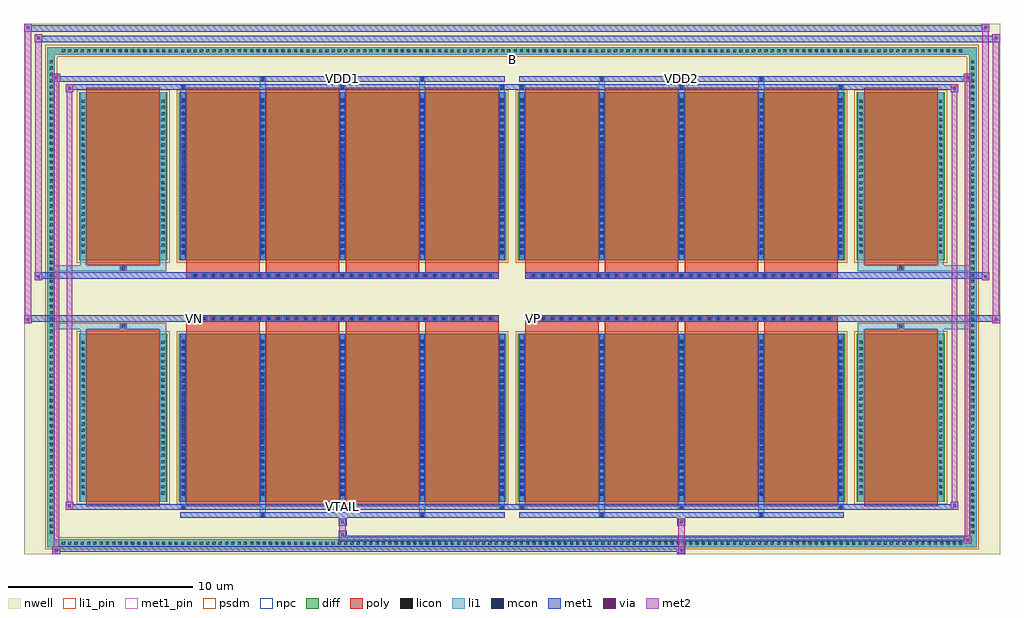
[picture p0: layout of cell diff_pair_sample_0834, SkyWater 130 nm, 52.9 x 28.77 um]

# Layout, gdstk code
import gdstk
lib = gdstk.Library(unit=1e-6, precision=5e-09)
def R(c, l, rs):  # rectangles x0, y0, x1, y1
    for r in rs: c.add(gdstk.rectangle(r[:2], r[2:], *l))
def A(c, l, x, y, w, h, nx, ny, dx, dy):  # array of equal rectangles
    R(c, l, [(x+i*dx, y+j*dy, x+i*dx+w, y+j*dy+h) for i in range(nx) for j in range(ny)])
def P(c, l, *ps):  # polygons
    for p in ps: c.add(gdstk.Polygon(p, *l))
nwell = (64, 20)
diff = (65, 20)
poly = (66, 20)
licon = (66, 44)
li1_pin = (67, 16)
li1 = (67, 20)
mcon = (67, 44)
met1_pin = (68, 16)
met1 = (68, 20)
via = (68, 44)
met2 = (69, 20)
psdm = (94, 20)
npc = (95, 20)

diff_pair_sample_0834 = lib.new_cell('diff_pair_sample_0834')
R(diff_pair_sample_0834, nwell, [(-26.45,-13.95,26.45,14.82), (-23.77,-12.14,-0.01,-0.8), (0.01,-12.14,23.77,-0.8), (-23.77,0.8,-0.01,12.14), (0.01,0.8,23.77,12.14)])
A(diff_pair_sample_0834, diff, -24.515, -13.55, 0.41, 0.41, 144, 2, 0.34, 26.69)
A(diff_pair_sample_0834, diff, -25.18, -12.955, 0.41, 0.41, 1, 76, 0, 0.34)
A(diff_pair_sample_0834, diff, 24.77, -12.955, 0.41, 0.41, 1, 76, 0, 0.34)
R(diff_pair_sample_0834, diff, [(-24.515,-13.55,24.515,-13.14), (-25.18,-12.955,-24.77,12.955), (24.77,-12.955,25.18,12.955), (-23.46,-11.095,-18.69,-1.985), (-18.05,-11.095,-0.32,-1.985), (0.32,-11.095,18.05,-1.985), (18.69,-11.095,23.46,-1.985), (-23.46,1.985,-18.69,11.095), (-18.05,1.985,-0.32,11.095), (0.32,1.985,18.05,11.095), (18.69,1.985,23.46,11.095), (-24.515,13.14,24.515,13.55)])
P(diff_pair_sample_0834, diff, [(25.18,13.55),(-25.18,13.55),(-25.18,-13.14),(-24.77,-13.14),(-24.77,13.14),(24.77,13.14),(24.77,-13.14),(-24.77,-13.14),(-25.18,-13.14),(-25.18,-13.55),(25.18,-13.55)])
A(diff_pair_sample_0834, poly, -17.66, -11.345, 3.99, 9.61, 4, 2, 4.32, 13.08)
A(diff_pair_sample_0834, poly, 0.71, -11.345, 3.99, 9.61, 4, 2, 4.32, 13.08)
A(diff_pair_sample_0834, poly, -17.66, -1.735, 3.99, 0.405, 4, 2, 4.32, 3.065)
A(diff_pair_sample_0834, poly, 0.71, -1.735, 3.99, 0.405, 4, 2, 4.32, 3.065)
A(diff_pair_sample_0834, poly, -17.35, -1.33, 0.33, 0.33, 33, 2, 0.5, 2.33)
A(diff_pair_sample_0834, poly, 1.02, -1.33, 0.33, 0.33, 33, 2, 0.5, 2.33)
R(diff_pair_sample_0834, poly, [(-23.07,-11.345,-19.08,-1.735), (19.08,-11.345,23.07,-1.735), (-21.24,-1.735,-20.91,-1.405), (-21.24,-1.735,-20.91,-1.405), (20.91,-1.735,21.24,-1.405), (20.91,-1.735,21.24,-1.405), (-17.66,-1.33,-0.71,-1), (0.71,-1.33,17.66,-1), (-17.66,1,-0.71,1.33), (0.71,1,17.66,1.33), (-21.24,1.405,-20.91,1.735), (-21.24,1.405,-20.91,1.735), (20.91,1.405,21.24,1.735), (20.91,1.405,21.24,1.735), (-23.07,1.735,-19.08,11.345), (19.08,1.735,23.07,11.345)])
A(diff_pair_sample_0834, licon, -24.395, -13.43, 0.17, 0.17, 144, 2, 0.34, 26.69)
A(diff_pair_sample_0834, licon, -25.06, -12.835, 0.17, 0.17, 1, 76, 0, 0.34)
A(diff_pair_sample_0834, licon, 24.89, -12.835, 0.17, 0.17, 1, 76, 0, 0.34)
A(diff_pair_sample_0834, licon, -23.32, -10.705, 0.17, 0.17, 1, 25, 0, 0.34)
A(diff_pair_sample_0834, licon, -19, -10.705, 0.17, 0.17, 1, 25, 0, 0.34)
A(diff_pair_sample_0834, licon, -17.91, -10.705, 0.17, 0.17, 5, 25, 4.32, 0.34)
A(diff_pair_sample_0834, licon, 0.46, -10.705, 0.17, 0.17, 5, 25, 4.32, 0.34)
A(diff_pair_sample_0834, licon, 18.83, -10.705, 0.17, 0.17, 1, 25, 0, 0.34)
A(diff_pair_sample_0834, licon, 23.15, -10.705, 0.17, 0.17, 1, 25, 0, 0.34)
A(diff_pair_sample_0834, licon, -17.27, -1.25, 0.17, 0.17, 33, 2, 0.5, 2.33)
A(diff_pair_sample_0834, licon, 1.1, -1.25, 0.17, 0.17, 33, 2, 0.5, 2.33)
A(diff_pair_sample_0834, licon, -23.32, 2.375, 0.17, 0.17, 1, 25, 0, 0.34)
A(diff_pair_sample_0834, licon, -19, 2.375, 0.17, 0.17, 1, 25, 0, 0.34)
A(diff_pair_sample_0834, licon, -17.91, 2.375, 0.17, 0.17, 5, 25, 4.32, 0.34)
A(diff_pair_sample_0834, licon, 0.46, 2.375, 0.17, 0.17, 5, 25, 4.32, 0.34)
A(diff_pair_sample_0834, licon, 18.83, 2.375, 0.17, 0.17, 1, 25, 0, 0.34)
A(diff_pair_sample_0834, licon, 23.15, 2.375, 0.17, 0.17, 1, 25, 0, 0.34)
R(diff_pair_sample_0834, licon, [(-21.16,-1.655,-20.99,-1.485), (20.99,-1.655,21.16,-1.485), (-21.16,1.485,-20.99,1.655), (20.99,1.485,21.16,1.655)])
R(diff_pair_sample_0834, li1_pin, [(-0.25,12.64,0.25,13.14)])
A(diff_pair_sample_0834, li1, -24.475, -13.51, 0.33, 0.33, 144, 2, 0.34, 26.69)
A(diff_pair_sample_0834, li1, -25.14, -12.915, 0.33, 0.33, 1, 76, 0, 0.34)
A(diff_pair_sample_0834, li1, 24.81, -12.915, 0.33, 0.33, 1, 76, 0, 0.34)
A(diff_pair_sample_0834, li1, -17.99, -11.47, 0.33, 0.375, 3, 2, 8.64, 22.565)
A(diff_pair_sample_0834, li1, -17.91, -11.47, 0.17, 0.17, 3, 2, 8.64, 22.77)
A(diff_pair_sample_0834, li1, 0.38, -11.47, 0.33, 0.375, 3, 2, 8.64, 22.565)
A(diff_pair_sample_0834, li1, 0.46, -11.47, 0.17, 0.17, 3, 2, 8.64, 22.77)
A(diff_pair_sample_0834, li1, -17.99, -11.095, 0.33, 9.11, 5, 2, 4.32, 13.08)
A(diff_pair_sample_0834, li1, 0.38, -11.095, 0.33, 9.11, 5, 2, 4.32, 13.08)
A(diff_pair_sample_0834, li1, -23.4, -10.785, 0.33, 0.33, 1, 25, 0, 0.34)
A(diff_pair_sample_0834, li1, -19.08, -10.785, 0.33, 0.33, 1, 25, 0, 0.34)
A(diff_pair_sample_0834, li1, -17.99, -10.785, 0.33, 0.33, 5, 25, 4.32, 0.34)
A(diff_pair_sample_0834, li1, 0.38, -10.785, 0.33, 0.33, 5, 25, 4.32, 0.34)
A(diff_pair_sample_0834, li1, 18.75, -10.785, 0.33, 0.33, 1, 25, 0, 0.34)
A(diff_pair_sample_0834, li1, 23.07, -10.785, 0.33, 0.33, 1, 25, 0, 0.34)
A(diff_pair_sample_0834, li1, -17.91, -10.765, 0.17, 0.17, 5, 24, 4.32, 0.36)
A(diff_pair_sample_0834, li1, -17.91, -10.765, 0.17, 8.45, 5, 2, 4.32, 13.08)
A(diff_pair_sample_0834, li1, 0.46, -10.765, 0.17, 0.17, 5, 24, 4.32, 0.36)
A(diff_pair_sample_0834, li1, 0.46, -10.765, 0.17, 8.45, 5, 2, 4.32, 13.08)
A(diff_pair_sample_0834, li1, -17.35, -1.33, 0.33, 0.33, 33, 2, 0.5, 2.33)
A(diff_pair_sample_0834, li1, 1.02, -1.33, 0.33, 0.33, 33, 2, 0.5, 2.33)
A(diff_pair_sample_0834, li1, -23.4, 2.295, 0.33, 0.33, 1, 25, 0, 0.34)
A(diff_pair_sample_0834, li1, -19.08, 2.295, 0.33, 0.33, 1, 25, 0, 0.34)
A(diff_pair_sample_0834, li1, -17.99, 2.295, 0.33, 0.33, 5, 25, 4.32, 0.34)
A(diff_pair_sample_0834, li1, 0.38, 2.295, 0.33, 0.33, 5, 25, 4.32, 0.34)
A(diff_pair_sample_0834, li1, 18.75, 2.295, 0.33, 0.33, 1, 25, 0, 0.34)
A(diff_pair_sample_0834, li1, 23.07, 2.295, 0.33, 0.33, 1, 25, 0, 0.34)
A(diff_pair_sample_0834, li1, -17.91, 2.315, 0.17, 0.17, 5, 24, 4.32, 0.36)
A(diff_pair_sample_0834, li1, 0.46, 2.315, 0.17, 0.17, 5, 24, 4.32, 0.36)
R(diff_pair_sample_0834, li1, [(-25.18,-13.55,-24.77,-13.14), (-25.18,-13.55,-24.77,-13.14), (-24.77,-13.55,24.77,-13.14), (24.77,-13.55,25.18,-13.14), (24.77,-13.55,25.18,-13.14), (-25.18,-13.14,-24.77,13.14), (24.77,-13.14,25.18,13.14), (-13.67,-11.9,-13.34,-11.095), (-13.59,-11.9,-13.42,-11.73), (-5.03,-11.9,-4.7,-11.095), (-4.95,-11.9,-4.78,-11.73), (4.7,-11.9,5.03,-11.095), (4.78,-11.9,4.95,-11.73), (13.34,-11.9,13.67,-11.095), (13.42,-11.9,13.59,-11.73), (-23.4,-11.095,-23.07,-1.985), (-19.08,-11.095,-18.75,-1.985), (18.75,-11.095,19.08,-1.985), (23.07,-11.095,23.4,-1.985), (-23.4,-1.985,-23.07,-1.405), (-19.08,-1.985,-18.75,-1.405), (18.75,-1.985,19.08,-1.405), (23.07,-1.985,23.4,-1.405), (-25.18,-1.735,-21.24,-1.405), (-23.4,-1.735,-21.24,-1.405), (-21.24,-1.735,-20.91,-1.405), (-20.91,-1.735,-18.75,-1.405), (18.75,-1.735,20.91,-1.405), (20.91,-1.735,21.24,-1.405), (20.91,-1.735,25.18,-1.405), (21.24,-1.735,23.4,-1.405), (-25.18,1.405,-21.24,1.735), (-23.4,1.405,-21.24,1.735), (-23.4,1.405,-23.07,1.985), (-21.24,1.405,-20.91,1.735), (-20.91,1.405,-18.75,1.735), (-19.08,1.405,-18.75,1.985), (18.75,1.405,20.91,1.735), (18.75,1.405,19.08,1.985), (20.91,1.405,21.24,1.735), (20.91,1.405,25.18,1.735), (21.24,1.405,23.4,1.735), (23.07,1.405,23.4,1.985), (-23.4,1.985,-23.07,11.095), (-19.08,1.985,-18.75,11.095), (18.75,1.985,19.08,11.095), (23.07,1.985,23.4,11.095), (-13.67,11.095,-13.34,11.9), (-5.03,11.095,-4.7,11.9), (4.7,11.095,5.03,11.9), (13.34,11.095,13.67,11.9), (-13.59,11.73,-13.42,11.9), (-4.95,11.73,-4.78,11.9), (4.78,11.73,4.95,11.9), (13.42,11.73,13.59,11.9), (-25.18,13.14,-24.77,13.55), (-25.18,13.14,-24.77,13.55), (-24.77,13.14,24.77,13.55), (24.77,13.14,25.18,13.55), (24.77,13.14,25.18,13.55)])
A(diff_pair_sample_0834, mcon, -17.91, -11.47, 0.17, 0.17, 3, 2, 8.64, 22.77)
A(diff_pair_sample_0834, mcon, 0.46, -11.47, 0.17, 0.17, 3, 2, 8.64, 22.77)
A(diff_pair_sample_0834, mcon, -17.91, -10.765, 0.17, 0.17, 5, 24, 4.32, 0.36)
A(diff_pair_sample_0834, mcon, 0.46, -10.765, 0.17, 0.17, 5, 24, 4.32, 0.36)
A(diff_pair_sample_0834, mcon, -17.27, -1.25, 0.17, 0.17, 33, 2, 0.5, 2.33)
A(diff_pair_sample_0834, mcon, 1.1, -1.25, 0.17, 0.17, 33, 2, 0.5, 2.33)
A(diff_pair_sample_0834, mcon, -17.91, 2.315, 0.17, 0.17, 5, 24, 4.32, 0.36)
A(diff_pair_sample_0834, mcon, 0.46, 2.315, 0.17, 0.17, 5, 24, 4.32, 0.36)
R(diff_pair_sample_0834, mcon, [(-13.59,-11.9,-13.42,-11.73), (-4.95,-11.9,-4.78,-11.73), (4.78,-11.9,4.95,-11.73), (13.42,-11.9,13.59,-11.73), (-13.59,11.73,-13.42,11.9), (-4.95,11.73,-4.78,11.9), (4.78,11.73,4.95,11.9), (13.42,11.73,13.59,11.9)])
R(diff_pair_sample_0834, met1_pin, [(-9.32,-11.51,-9.05,-11.24), (-17.32,-1.29,-17.05,-1.02), (1.05,-1.29,1.32,-1.02), (-9.32,11.69,-9.05,11.96), (9.05,11.69,9.32,11.96)])
A(diff_pair_sample_0834, met1, -17.97, -11.53, 0.29, 0.29, 3, 2, 8.64, 22.77)
A(diff_pair_sample_0834, met1, 0.4, -11.53, 0.29, 0.29, 3, 2, 8.64, 22.77)
A(diff_pair_sample_0834, met1, -17.97, -11.095, 0.29, 9.11, 5, 2, 4.32, 13.08)
A(diff_pair_sample_0834, met1, 0.4, -11.095, 0.29, 9.11, 5, 2, 4.32, 13.08)
A(diff_pair_sample_0834, met1, -17.97, -10.825, 0.29, 0.29, 5, 24, 4.32, 0.36)
A(diff_pair_sample_0834, met1, 0.4, -10.825, 0.29, 0.29, 5, 24, 4.32, 0.36)
A(diff_pair_sample_0834, met1, -17.33, -1.31, 0.29, 0.29, 33, 2, 0.5, 2.33)
A(diff_pair_sample_0834, met1, 1.04, -1.31, 0.29, 0.29, 33, 2, 0.5, 2.33)
A(diff_pair_sample_0834, met1, -17.97, 2.255, 0.29, 0.29, 5, 24, 4.32, 0.36)
A(diff_pair_sample_0834, met1, 0.4, 2.255, 0.29, 0.29, 5, 24, 4.32, 0.36)
R(diff_pair_sample_0834, met1, [(-24.91,-13.95,-24.48,-13.52), (8.97,-13.95,9.4,-13.52), (-24.91,-13.81,9.4,-13.52), (24.48,-13.38,24.91,-12.95), (-9.4,-13.24,24.91,-12.95), (-9.4,-13.1,-8.97,-12.67), (-9.4,-12.39,-8.97,-11.96), (8.97,-12.39,9.4,-11.96), (-17.97,-11.96,-0.4,-11.67), (-13.65,-11.96,-13.36,-11.67), (-5.01,-11.96,-4.72,-11.67), (0.4,-11.96,17.97,-11.67), (4.72,-11.96,5.01,-11.67), (13.36,-11.96,13.65,-11.67), (-24.2,-11.53,-23.77,-11.1), (-24.2,-11.53,-17.97,-11.24), (-17.97,-11.53,-0.4,-11.24), (-0.4,-11.53,0.4,-11.24), (0.4,-11.53,17.97,-11.24), (17.97,-11.53,24.2,-11.24), (23.77,-11.53,24.2,-11.1), (-26.45,-1.43,-26.02,-1), (26.02,-1.43,26.45,-1), (-26.45,-1.33,-0.71,-1), (-17.66,-1.33,-0.71,-1), (0.71,-1.33,17.66,-1), (0.71,-1.33,26.45,-1), (-25.88,0.9,-25.45,1.33), (25.45,0.9,25.88,1.33), (-25.88,1,-17.66,1.33), (-17.66,1,-0.71,1.33), (0.71,1,17.66,1.33), (17.66,1,25.88,1.33), (-24.2,11.1,-23.77,11.53), (23.77,11.1,24.2,11.53), (-24.2,11.24,-17.97,11.53), (-17.97,11.24,-0.4,11.53), (-0.4,11.24,0.4,11.53), (0.4,11.24,17.97,11.53), (17.97,11.24,24.2,11.53), (-24.91,11.67,-24.48,12.1), (-24.91,11.67,-17.97,11.96), (-17.97,11.67,-0.4,11.96), (-13.65,11.67,-13.36,11.96), (-5.01,11.67,-4.72,11.96), (0.4,11.67,17.97,11.96), (4.72,11.67,5.01,11.96), (13.36,11.67,13.65,11.96), (17.97,11.67,24.91,11.96), (24.48,11.67,24.91,12.1), (-25.88,13.82,-25.45,14.25), (-25.88,13.82,-23.77,14.15), (-23.77,13.82,23.77,14.15), (23.77,13.82,26.45,14.15), (26.02,13.82,26.45,14.25), (-26.45,14.39,-26.02,14.82), (-26.45,14.39,-23.77,14.72), (-23.77,14.39,23.77,14.72), (23.77,14.39,25.88,14.72), (25.45,14.39,25.88,14.82)])
R(diff_pair_sample_0834, via, [(-24.77,-13.81,-24.62,-13.66), (9.11,-13.81,9.26,-13.66), (24.62,-13.24,24.77,-13.09), (-9.26,-12.96,-9.11,-12.81), (-9.26,-12.25,-9.11,-12.1), (9.11,-12.25,9.26,-12.1), (-24.06,-11.39,-23.91,-11.24), (23.91,-11.39,24.06,-11.24), (-26.31,-1.29,-26.16,-1.14), (26.16,-1.29,26.31,-1.14), (-25.74,1.04,-25.59,1.19), (25.59,1.04,25.74,1.19), (-24.06,11.24,-23.91,11.39), (23.91,11.24,24.06,11.39), (-24.77,11.81,-24.62,11.96), (24.62,11.81,24.77,11.96), (-25.74,13.96,-25.59,14.11), (26.16,13.96,26.31,14.11), (-26.31,14.53,-26.16,14.68), (25.59,14.53,25.74,14.68)])
R(diff_pair_sample_0834, met2, [(-24.91,-13.95,-24.48,-13.52), (-24.84,-13.95,-24.55,12.1), (-24.55,-13.95,-24.48,-13.52), (-24.86,-13.9,-24.53,-13.57), (9.02,-13.9,9.35,-13.57), (9.02,-13.57,9.35,-12.34), (24.48,-13.38,24.91,-12.95), (24.55,-13.38,24.84,12.1), (24.84,-13.38,24.91,-12.95), (24.53,-13.33,24.86,-13), (-9.35,-13.05,-9.02,-12.72), (-9.35,-12.72,-9.02,-12.34), (-9.35,-12.34,-9.02,-12.01), (9.02,-12.34,9.35,-12.01), (-24.2,-11.53,-23.77,-11.1), (-24.13,-11.53,-23.84,11.53), (-23.84,-11.53,-23.77,-11.1), (23.77,-11.53,24.2,-11.1), (23.84,-11.53,24.13,11.53), (24.13,-11.53,24.2,-11.1), (-24.15,-11.48,-23.82,-11.15), (23.82,-11.48,24.15,-11.15), (-26.45,-1.43,-26.02,-1), (-26.4,-1.43,-26.07,14.82), (-26.07,-1.43,-26.02,-1), (26.02,-1.43,26.45,-1), (26.07,-1.43,26.4,14.25), (26.4,-1.43,26.45,-1), (-26.4,-1.38,-26.07,-1.05), (26.07,-1.38,26.4,-1.05), (-25.88,0.9,-25.45,1.33), (-25.83,0.9,-25.5,14.25), (-25.5,0.9,-25.45,1.33), (25.45,0.9,25.88,1.33), (25.5,0.9,25.83,14.82), (25.83,0.9,25.88,1.33), (-25.83,0.95,-25.5,1.28), (25.5,0.95,25.83,1.28), (-24.2,11.1,-23.77,11.53), (-23.84,11.1,-23.77,11.53), (23.77,11.1,24.2,11.53), (24.13,11.1,24.2,11.53), (-24.15,11.15,-23.82,11.48), (23.82,11.15,24.15,11.48), (-24.91,11.67,-24.48,12.1), (-24.55,11.67,-24.48,12.1), (24.48,11.67,24.91,12.1), (24.84,11.67,24.91,12.1), (-24.86,11.72,-24.53,12.05), (24.53,11.72,24.86,12.05), (-25.88,13.82,-25.45,14.25), (-25.5,13.82,-25.45,14.25), (26.02,13.82,26.45,14.25), (26.4,13.82,26.45,14.25), (-25.83,13.87,-25.5,14.2), (26.07,13.87,26.4,14.2), (-26.45,14.39,-26.02,14.82), (-26.07,14.39,-26.02,14.82), (25.45,14.39,25.88,14.82), (25.83,14.39,25.88,14.82), (-26.4,14.44,-26.07,14.77), (25.5,14.44,25.83,14.77)])
R(diff_pair_sample_0834, psdm, [(-23.59,-11.225,-18.56,-1.855), (-18.18,-11.225,-0.19,-1.855), (0.19,-11.225,18.18,-1.855), (18.56,-11.225,23.59,-1.855), (-23.59,1.855,-18.56,11.225), (-18.18,1.855,-0.19,11.225), (0.19,1.855,18.18,11.225), (18.56,1.855,23.59,11.225)])
P(diff_pair_sample_0834, psdm, [(25.31,13.68),(-25.31,13.68),(-25.31,-13.01),(-24.64,-13.01),(-24.64,13.01),(24.64,13.01),(24.64,-13.01),(-24.64,-13.01),(-25.31,-13.01),(-25.31,-13.68),(25.31,-13.68)])
A(diff_pair_sample_0834, npc, -17.37, -1.35, 0.37, 0.37, 33, 2, 0.5, 2.33)
A(diff_pair_sample_0834, npc, 1, -1.35, 0.37, 0.37, 33, 2, 0.5, 2.33)
R(diff_pair_sample_0834, npc, [(-21.26,-1.755,-20.89,-1.385), (20.89,-1.755,21.26,-1.385), (-17.37,-1.35,-16.5,-0.98), (-17.37,-1.35,-16.5,-0.98), (-16.87,-1.35,-16,-0.98), (-16.87,-1.35,-16,-0.98), (-16.37,-1.35,-15.5,-0.98), (-16.37,-1.35,-15.5,-0.98), (-15.87,-1.35,-15,-0.98), (-15.87,-1.35,-15,-0.98), (-15.37,-1.35,-14.5,-0.98), (-15.37,-1.35,-14.5,-0.98), (-14.87,-1.35,-14,-0.98), (-14.87,-1.35,-14,-0.98), (-14.37,-1.35,-13.5,-0.98), (-14.37,-1.35,-13.5,-0.98), (-13.87,-1.35,-13,-0.98), (-13.87,-1.35,-13,-0.98), (-13.37,-1.35,-12.5,-0.98), (-13.37,-1.35,-12.5,-0.98), (-12.87,-1.35,-12,-0.98), (-12.87,-1.35,-12,-0.98), (-12.37,-1.35,-11.5,-0.98), (-12.37,-1.35,-11.5,-0.98), (-11.87,-1.35,-11,-0.98), (-11.87,-1.35,-11,-0.98), (-11.37,-1.35,-10.5,-0.98), (-11.37,-1.35,-10.5,-0.98), (-10.87,-1.35,-10,-0.98), (-10.87,-1.35,-10,-0.98), (-10.37,-1.35,-9.5,-0.98), (-10.37,-1.35,-9.5,-0.98), (-9.87,-1.35,-9,-0.98), (-9.87,-1.35,-9,-0.98), (-9.37,-1.35,-8.5,-0.98), (-9.37,-1.35,-8.5,-0.98), (-8.87,-1.35,-8,-0.98), (-8.87,-1.35,-8,-0.98), (-8.37,-1.35,-7.5,-0.98), (-8.37,-1.35,-7.5,-0.98), (-7.87,-1.35,-7,-0.98), (-7.87,-1.35,-7,-0.98), (-7.37,-1.35,-6.5,-0.98), (-7.37,-1.35,-6.5,-0.98), (-6.87,-1.35,-6,-0.98), (-6.87,-1.35,-6,-0.98), (-6.37,-1.35,-5.5,-0.98), (-6.37,-1.35,-5.5,-0.98), (-5.87,-1.35,-5,-0.98), (-5.87,-1.35,-5,-0.98), (-5.37,-1.35,-4.5,-0.98), (-5.37,-1.35,-4.5,-0.98), (-4.87,-1.35,-4,-0.98), (-4.87,-1.35,-4,-0.98), (-4.37,-1.35,-3.5,-0.98), (-4.37,-1.35,-3.5,-0.98), (-3.87,-1.35,-3,-0.98), (-3.87,-1.35,-3,-0.98), (-3.37,-1.35,-2.5,-0.98), (-3.37,-1.35,-2.5,-0.98), (-2.87,-1.35,-2,-0.98), (-2.87,-1.35,-2,-0.98), (-2.37,-1.35,-1.5,-0.98), (-2.37,-1.35,-1.5,-0.98), (-1.87,-1.35,-1,-0.98), (-1.87,-1.35,-1,-0.98), (1,-1.35,1.87,-0.98), (1,-1.35,1.87,-0.98), (1.5,-1.35,2.37,-0.98), (1.5,-1.35,2.37,-0.98), (2,-1.35,2.87,-0.98), (2,-1.35,2.87,-0.98), (2.5,-1.35,3.37,-0.98), (2.5,-1.35,3.37,-0.98), (3,-1.35,3.87,-0.98), (3,-1.35,3.87,-0.98), (3.5,-1.35,4.37,-0.98), (3.5,-1.35,4.37,-0.98), (4,-1.35,4.87,-0.98), (4,-1.35,4.87,-0.98), (4.5,-1.35,5.37,-0.98), (4.5,-1.35,5.37,-0.98), (5,-1.35,5.87,-0.98), (5,-1.35,5.87,-0.98), (5.5,-1.35,6.37,-0.98), (5.5,-1.35,6.37,-0.98), (6,-1.35,6.87,-0.98), (6,-1.35,6.87,-0.98), (6.5,-1.35,7.37,-0.98), (6.5,-1.35,7.37,-0.98), (7,-1.35,7.87,-0.98), (7,-1.35,7.87,-0.98), (7.5,-1.35,8.37,-0.98), (7.5,-1.35,8.37,-0.98), (8,-1.35,8.87,-0.98), (8,-1.35,8.87,-0.98), (8.5,-1.35,9.37,-0.98), (8.5,-1.35,9.37,-0.98), (9,-1.35,9.87,-0.98), (9,-1.35,9.87,-0.98), (9.5,-1.35,10.37,-0.98), (9.5,-1.35,10.37,-0.98), (10,-1.35,10.87,-0.98), (10,-1.35,10.87,-0.98), (10.5,-1.35,11.37,-0.98), (10.5,-1.35,11.37,-0.98), (11,-1.35,11.87,-0.98), (11,-1.35,11.87,-0.98), (11.5,-1.35,12.37,-0.98), (11.5,-1.35,12.37,-0.98), (12,-1.35,12.87,-0.98), (12,-1.35,12.87,-0.98), (12.5,-1.35,13.37,-0.98), (12.5,-1.35,13.37,-0.98), (13,-1.35,13.87,-0.98), (13,-1.35,13.87,-0.98), (13.5,-1.35,14.37,-0.98), (13.5,-1.35,14.37,-0.98), (14,-1.35,14.87,-0.98), (14,-1.35,14.87,-0.98), (14.5,-1.35,15.37,-0.98), (14.5,-1.35,15.37,-0.98), (15,-1.35,15.87,-0.98), (15,-1.35,15.87,-0.98), (15.5,-1.35,16.37,-0.98), (15.5,-1.35,16.37,-0.98), (16,-1.35,16.87,-0.98), (16,-1.35,16.87,-0.98), (16.5,-1.35,17.37,-0.98), (16.5,-1.35,17.37,-0.98), (-17.37,0.98,-16.5,1.35), (-17.37,0.98,-16.5,1.35), (-16.87,0.98,-16,1.35), (-16.87,0.98,-16,1.35), (-16.37,0.98,-15.5,1.35), (-16.37,0.98,-15.5,1.35), (-15.87,0.98,-15,1.35), (-15.87,0.98,-15,1.35), (-15.37,0.98,-14.5,1.35), (-15.37,0.98,-14.5,1.35), (-14.87,0.98,-14,1.35), (-14.87,0.98,-14,1.35), (-14.37,0.98,-13.5,1.35), (-14.37,0.98,-13.5,1.35), (-13.87,0.98,-13,1.35), (-13.87,0.98,-13,1.35), (-13.37,0.98,-12.5,1.35), (-13.37,0.98,-12.5,1.35), (-12.87,0.98,-12,1.35), (-12.87,0.98,-12,1.35), (-12.37,0.98,-11.5,1.35), (-12.37,0.98,-11.5,1.35), (-11.87,0.98,-11,1.35), (-11.87,0.98,-11,1.35), (-11.37,0.98,-10.5,1.35), (-11.37,0.98,-10.5,1.35), (-10.87,0.98,-10,1.35), (-10.87,0.98,-10,1.35), (-10.37,0.98,-9.5,1.35), (-10.37,0.98,-9.5,1.35), (-9.87,0.98,-9,1.35), (-9.87,0.98,-9,1.35), (-9.37,0.98,-8.5,1.35), (-9.37,0.98,-8.5,1.35), (-8.87,0.98,-8,1.35), (-8.87,0.98,-8,1.35), (-8.37,0.98,-7.5,1.35), (-8.37,0.98,-7.5,1.35), (-7.87,0.98,-7,1.35), (-7.87,0.98,-7,1.35), (-7.37,0.98,-6.5,1.35), (-7.37,0.98,-6.5,1.35), (-6.87,0.98,-6,1.35), (-6.87,0.98,-6,1.35), (-6.37,0.98,-5.5,1.35), (-6.37,0.98,-5.5,1.35), (-5.87,0.98,-5,1.35), (-5.87,0.98,-5,1.35), (-5.37,0.98,-4.5,1.35), (-5.37,0.98,-4.5,1.35), (-4.87,0.98,-4,1.35), (-4.87,0.98,-4,1.35), (-4.37,0.98,-3.5,1.35), (-4.37,0.98,-3.5,1.35), (-3.87,0.98,-3,1.35), (-3.87,0.98,-3,1.35), (-3.37,0.98,-2.5,1.35), (-3.37,0.98,-2.5,1.35), (-2.87,0.98,-2,1.35), (-2.87,0.98,-2,1.35), (-2.37,0.98,-1.5,1.35), (-2.37,0.98,-1.5,1.35), (-1.87,0.98,-1,1.35), (-1.87,0.98,-1,1.35), (1,0.98,1.87,1.35), (1,0.98,1.87,1.35), (1.5,0.98,2.37,1.35), (1.5,0.98,2.37,1.35), (2,0.98,2.87,1.35), (2,0.98,2.87,1.35), (2.5,0.98,3.37,1.35), (2.5,0.98,3.37,1.35), (3,0.98,3.87,1.35), (3,0.98,3.87,1.35), (3.5,0.98,4.37,1.35), (3.5,0.98,4.37,1.35), (4,0.98,4.87,1.35), (4,0.98,4.87,1.35), (4.5,0.98,5.37,1.35), (4.5,0.98,5.37,1.35), (5,0.98,5.87,1.35), (5,0.98,5.87,1.35), (5.5,0.98,6.37,1.35), (5.5,0.98,6.37,1.35), (6,0.98,6.87,1.35), (6,0.98,6.87,1.35), (6.5,0.98,7.37,1.35), (6.5,0.98,7.37,1.35), (7,0.98,7.87,1.35), (7,0.98,7.87,1.35), (7.5,0.98,8.37,1.35), (7.5,0.98,8.37,1.35), (8,0.98,8.87,1.35), (8,0.98,8.87,1.35), (8.5,0.98,9.37,1.35), (8.5,0.98,9.37,1.35), (9,0.98,9.87,1.35), (9,0.98,9.87,1.35), (9.5,0.98,10.37,1.35), (9.5,0.98,10.37,1.35), (10,0.98,10.87,1.35), (10,0.98,10.87,1.35), (10.5,0.98,11.37,1.35), (10.5,0.98,11.37,1.35), (11,0.98,11.87,1.35), (11,0.98,11.87,1.35), (11.5,0.98,12.37,1.35), (11.5,0.98,12.37,1.35), (12,0.98,12.87,1.35), (12,0.98,12.87,1.35), (12.5,0.98,13.37,1.35), (12.5,0.98,13.37,1.35), (13,0.98,13.87,1.35), (13,0.98,13.87,1.35), (13.5,0.98,14.37,1.35), (13.5,0.98,14.37,1.35), (14,0.98,14.87,1.35), (14,0.98,14.87,1.35), (14.5,0.98,15.37,1.35), (14.5,0.98,15.37,1.35), (15,0.98,15.87,1.35), (15,0.98,15.87,1.35), (15.5,0.98,16.37,1.35), (15.5,0.98,16.37,1.35), (16,0.98,16.87,1.35), (16,0.98,16.87,1.35), (16.5,0.98,17.37,1.35), (16.5,0.98,17.37,1.35), (-21.26,1.385,-20.89,1.755), (20.89,1.385,21.26,1.755)])
diff_pair_sample_0834.add(gdstk.Label('VTAIL', (-9.185,-11.375), layer=68, texttype=5))
diff_pair_sample_0834.add(gdstk.Label('VN', (-17.185,-1.155), layer=68, texttype=5))
diff_pair_sample_0834.add(gdstk.Label('VP', (1.185,-1.155), layer=68, texttype=5))
diff_pair_sample_0834.add(gdstk.Label('B', (0,12.89), layer=67, texttype=5))
diff_pair_sample_0834.add(gdstk.Label('VDD2', (9.185,11.825), layer=68, texttype=5))
diff_pair_sample_0834.add(gdstk.Label('VDD1', (-9.185,11.825), layer=68, texttype=5))

lib.write_gds('diff_pair_sample_0834.gds')
